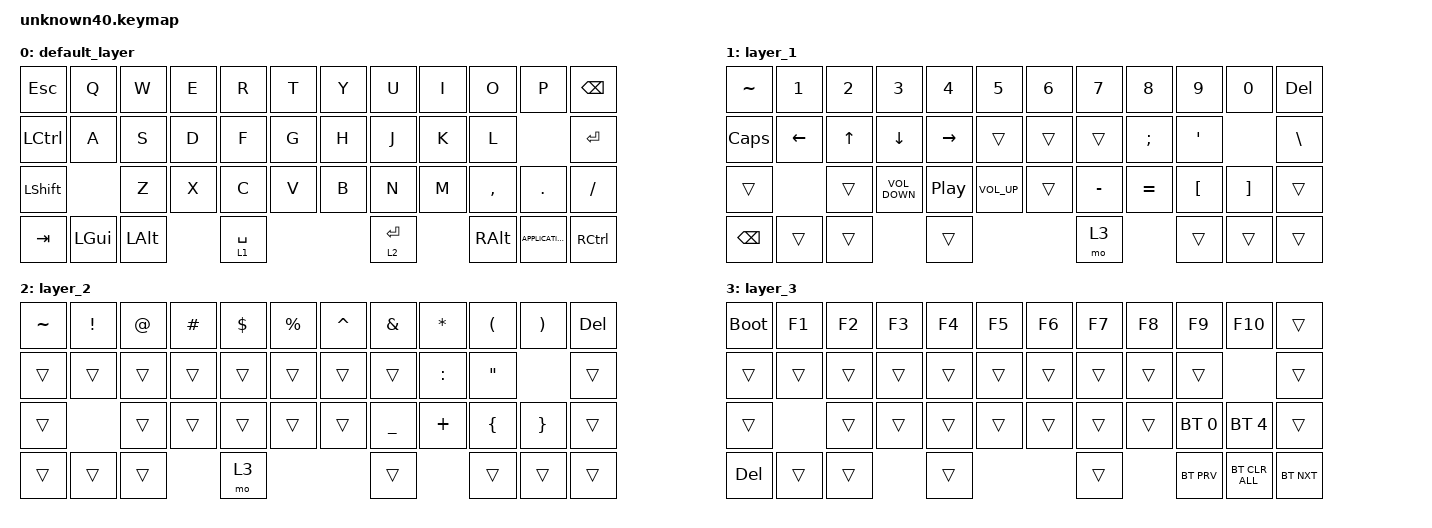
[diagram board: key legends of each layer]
/*
 * Copyright (c) 2021 Nick Winans
 *
 * SPDX-License-Identifier: MIT
 */

#include <behaviors.dtsi>
#include <dt-bindings/zmk/bt.h>
#include <dt-bindings/zmk/keys.h>

/ {
    keymap {
        compatible = "zmk,keymap";

        default_layer {
            bindings = <
&kp ESC    &kp Q     &kp W         &kp E  &kp R        &kp T  &kp Y  &kp U        &kp I  &kp O          &kp P              &kp BSPC
&kp LCTRL  &kp A     &kp S         &kp D  &kp F        &kp G  &kp H  &kp J        &kp K  &kp L                             &kp RET
&kp LSHFT            &kp Z         &kp X  &kp C        &kp V  &kp B  &kp N        &kp M  &kp COMMA      &kp DOT            &kp SLASH
&kp TAB    &kp LGUI  &kp LEFT_ALT         &lt 1 SPACE                &lt 2 ENTER         &kp RIGHT_ALT  &kp K_APPLICATION  &kp RCTRL
            >;
        };

        layer_1 {
            bindings = <
&kp TILDE      &kp NUMBER_1  &kp NUMBER_2  &kp NUMBER_3       &kp NUMBER_4      &kp NUMBER_5     &kp NUMBER_6  &kp NUMBER_7  &kp NUMBER_8   &kp NUMBER_9      &kp N0             &kp DELETE
&kp CAPSLOCK   &kp LEFT      &kp UP        &kp DOWN           &kp RIGHT         &trans           &trans        &trans        &kp SEMICOLON  &kp SINGLE_QUOTE                     &kp BACKSLASH
&trans                       &trans        &kp C_VOLUME_DOWN  &kp C_PLAY_PAUSE  &kp C_VOLUME_UP  &trans        &kp MINUS     &kp EQUAL      &kp LEFT_BRACKET  &kp RIGHT_BRACKET  &trans
&kp BACKSPACE  &trans        &trans                           &trans                                           &mo 3                        &trans            &trans             &trans
            >;
        };

        layer_2 {
            bindings = <
&kp TILDE  &kp EXCLAMATION  &kp AT_SIGN  &kp HASH  &kp DOLLAR  &kp PERCENT  &kp CARET  &kp AMPERSAND   &kp ASTERISK  &kp LEFT_PARENTHESIS  &kp RIGHT_PARENTHESIS  &kp DEL
&trans     &trans           &trans       &trans    &trans      &trans       &trans     &trans          &kp COLON     &kp DOUBLE_QUOTES                            &trans
&trans                      &trans       &trans    &trans      &trans       &trans     &kp UNDERSCORE  &kp PLUS      &kp LEFT_BRACE        &kp RIGHT_BRACE        &trans
&trans     &trans           &trans                 &mo 3                               &trans                        &trans                &trans                 &trans
            >;
        };

        layer_3 {
            bindings = <
&bootloader  &kp F1  &kp F2  &kp F3  &kp F4  &kp F5  &kp F6  &kp F7  &kp F8  &kp F9        &kp F10         &trans
&trans       &trans  &trans  &trans  &trans  &trans  &trans  &trans  &trans  &trans                        &trans
&trans               &trans  &trans  &trans  &trans  &trans  &trans  &trans  &bt BT_SEL 0  &bt BT_SEL 4    &trans
&kp DELETE   &trans  &trans          &trans                  &trans          &bt BT_PRV    &bt BT_CLR_ALL  &bt BT_NXT
            >;
        };
    };
};
